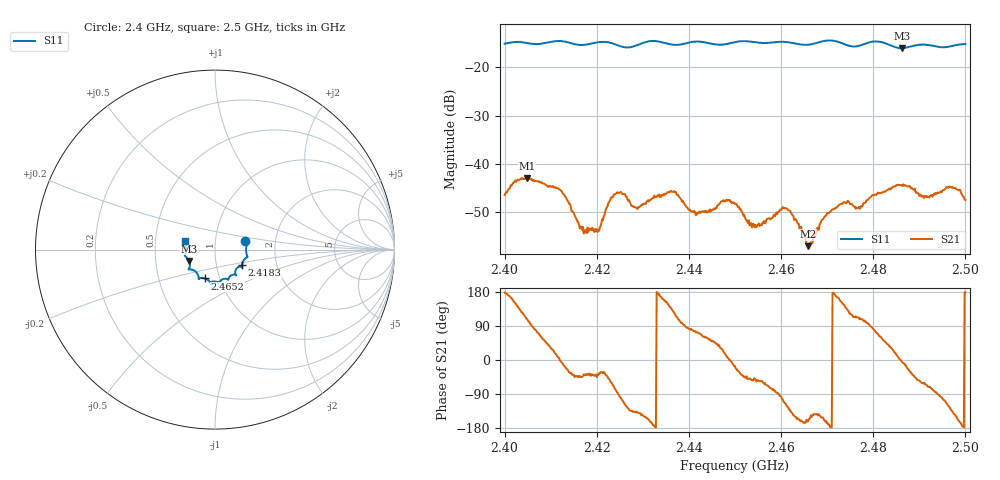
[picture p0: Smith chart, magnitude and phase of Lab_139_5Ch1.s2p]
# Hz S RI R
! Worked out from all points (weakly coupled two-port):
!   601 points, 2.4 GHz to 2.5 GHz, reference 50 ohm
!   highest |S21| = -42.89 dB at 2.4048 GHz (marker M1); lowest = -57.0 dB at 2.4658 GHz (marker M2)
!   lowest |S11| = -16.1 dB at 2.4862 GHz (marker M3), VSWR 1.37, Z = 37.2 - j4.86 ohm
!   |S11| at or under -10 dB: start of sweep to end of sweep
!   S12 and S22 are empty: the file has one direction only
!   S11 on the Smith chart (normalised r, x): 2.4 GHz: 1.40, +0.13; 2.4183 GHz: 1.33, -0.24; 2.4652 GHz: 0.85, -0.28; 2.5 GHz: 0.71, +0.07
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2.4e9  0.1683 0.0465  -0.00477 0.000161  0 0  0 0
2.404833e9  0.1762 0.0205  -0.00229 0.0068  0 0  0 0
2.412e9  0.1816 -0.0411  0.00545 -5.45e-05  0 0  0 0
2.416667e9  0.155 -0.0679  0.00159 -0.00157  0 0  0 0
2.418333e9  0.1499 -0.0867  0.00175 -0.00126  0 0  0 0
2.4205e9  0.1512 -0.0998  0.00167 -0.00117  0 0  0 0
2.424167e9  0.1415 -0.0953  0.000859 -0.00485  0 0  0 0
2.428667e9  0.1124 -0.1246  -0.00254 -0.00245  0 0  0 0
2.433333e9  0.1174 -0.1417  -0.0046 0.000576  0 0  0 0
2.436667e9  0.094 -0.142  -0.00312 0.00417  0 0  0 0
2.441833e9  0.0739 -0.1685  0.00092 0.00288  0 0  0 0
2.45e9  0.0257 -0.1798  0.0037 -0.00108  0 0  0 0
2.454167e9  0.0135 -0.181  0.0015 -0.00167  0 0  0 0
2.460833e9  -0.0294 -0.1796  -0.00135 -0.0032  0 0  0 0
2.465167e9  -0.0543 -0.1609  -0.00182 -0.0005  0 0  0 0
2.465833e9  -0.0617 -0.1586  -0.00135 -0.000426  0 0  0 0
2.466667e9  -0.0708 -0.1576  -0.00133 -0.000761  0 0  0 0
2.472667e9  -0.0909 -0.1559  -0.00357 0.00131  0 0  0 0
2.476667e9  -0.1173 -0.1155  -0.00135 0.00322  0 0  0 0
2.483333e9  -0.1411 -0.0967  0.0042 0.00355  0 0  0 0
2.486167e9  -0.1432 -0.0637  0.00603 -0.000411  0 0  0 0
2.5e9  -0.1663 0.0474  -0.00424 0.00012  0 0  0 0
